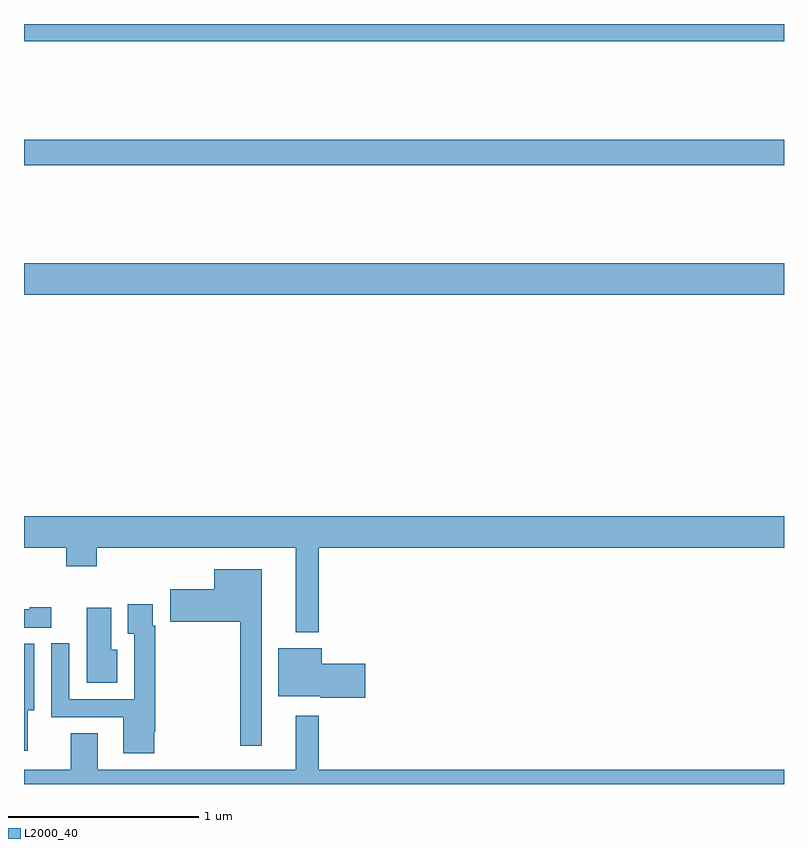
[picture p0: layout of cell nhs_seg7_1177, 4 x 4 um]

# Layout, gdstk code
import gdstk
lib = gdstk.Library(unit=1e-6, precision=1e-09)
def R(c, l, rs):  # rectangles x0, y0, x1, y1
    for r in rs: c.add(gdstk.rectangle(r[:2], r[2:], *l))
def P(c, l, *ps):  # polygons
    for p in ps: c.add(gdstk.Polygon(p, *l))
L2000_40 = (2000, 40)

nhs_seg7_1177 = lib.new_cell('nhs_seg7_1177')
R(nhs_seg7_1177, L2000_40, [(193,1040.576,197,1040.74), (193,1041.256,197,1041.392), (193,1041.908,197,1042)])
P(nhs_seg7_1177, L2000_40, [(194.551,1039.244),(197,1039.244),(197,1039.408),(193,1039.408),(193,1039.244),(193.222,1039.244),(193.222,1039.145),(193.382,1039.145),(193.382,1039.244),(194.429,1039.244),(194.429,1038.8),(194.551,1038.8)],
  [(194.251,1039.129),(194,1039.129),(194,1039.024),(193.77,1039.024),(193.77,1038.853),(194.137,1038.853),(194.137,1038.201),(194.251,1038.201)],
  [(193.686,1038.274),(193.69,1038.274),(193.69,1038.833),(193.677,1038.833),(193.677,1038.946),(193.547,1038.946),(193.547,1038.79),(193.581,1038.79),(193.581,1038.447),(193.239,1038.447),(193.239,1038.741),(193.143,1038.741),(193.143,1038.351),(193.523,1038.351),(193.523,1038.162),(193.686,1038.162)],
  [(193.143,1038.93),(193.031,1038.93),(193.031,1038.921),(193,1038.921),(193,1038.822),(193.143,1038.822)],
  [(193.492,1038.706),(193.459,1038.706),(193.459,1038.928),(193.331,1038.928),(193.331,1038.532),(193.492,1038.532)],
  [(193.021,1038.389),(193.054,1038.389),(193.054,1038.737),(193,1038.737),(193,1038.174),(193.021,1038.174)],
  [(194.797,1038.632),(194.566,1038.632),(194.566,1038.715),(194.339,1038.715),(194.339,1038.461),(194.562,1038.461),(194.562,1038.454),(194.797,1038.454)],
  [(197,1038.076),(194.551,1038.076),(194.551,1038.358),(194.429,1038.358),(194.429,1038.076),(193.387,1038.076),(193.387,1038.266),(193.247,1038.266),(193.247,1038.076),(193,1038.076),(193,1038),(197,1038)])

lib.write_gds('nhs_seg7_1177.gds')
